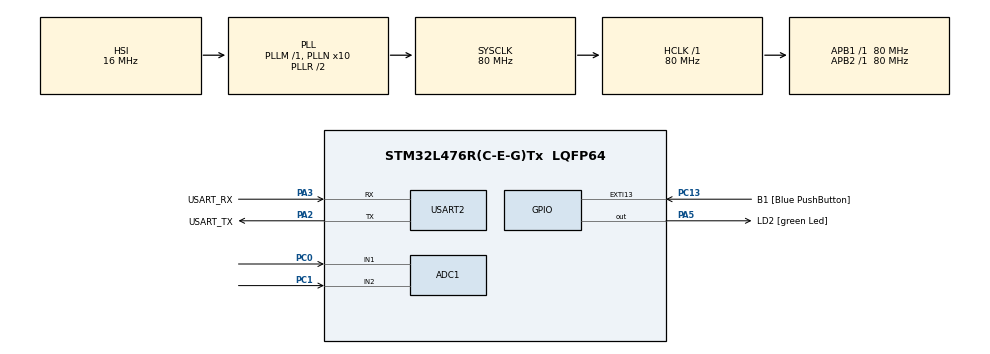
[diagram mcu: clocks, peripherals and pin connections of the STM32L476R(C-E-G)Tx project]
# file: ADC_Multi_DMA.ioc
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ADC1.Channel-0\#ChannelRegularConversion=ADC_CHANNEL_1
ADC1.Channel-1\#ChannelRegularConversion=ADC_CHANNEL_2
ADC1.Channel-2\#ChannelRegularConversion=ADC_CHANNEL_TEMPSENSOR
ADC1.NbrOfConversion=3
ADC1.NbrOfConversionFlag=1
ADC1.OffsetNumber-0\#ChannelRegularConversion=ADC_OFFSET_NONE
ADC1.OffsetNumber-1\#ChannelRegularConversion=ADC_OFFSET_NONE
ADC1.OffsetNumber-2\#ChannelRegularConversion=ADC_OFFSET_NONE
ADC1.Rank-0\#ChannelRegularConversion=1
ADC1.Rank-1\#ChannelRegularConversion=2
ADC1.Rank-2\#ChannelRegularConversion=3
ADC1.SamplingTime-0\#ChannelRegularConversion=ADC_SAMPLETIME_12CYCLES_5
ADC1.SamplingTime-1\#ChannelRegularConversion=ADC_SAMPLETIME_24CYCLES_5
ADC1.SamplingTime-2\#ChannelRegularConversion=ADC_SAMPLETIME_47CYCLES_5
ADC1.master=1
Dma.ADC1.0.Direction=DMA_PERIPH_TO_MEMORY
Dma.ADC1.0.Instance=DMA1_Channel1
Dma.ADC1.0.MemDataAlignment=DMA_MDATAALIGN_HALFWORD
Dma.ADC1.0.MemInc=DMA_MINC_ENABLE
Dma.ADC1.0.Mode=DMA_NORMAL
Dma.ADC1.0.PeriphDataAlignment=DMA_PDATAALIGN_HALFWORD
Dma.ADC1.0.PeriphInc=DMA_PINC_DISABLE
Dma.ADC1.0.Priority=DMA_PRIORITY_LOW
Dma.Request0=ADC1
Mcu.Family=STM32L4
Mcu.Name=STM32L476R(C-E-G)Tx
Mcu.Package=LQFP64
NVIC.DMA1_Channel1_IRQn=true\:0\:0\:false\:false\:true\:false\:true\:true
NVIC.PriorityGroup=NVIC_PRIORITYGROUP_4
PA13\ (JTMS-SWDIO).GPIO_Label=TMS
PA13\ (JTMS-SWDIO).Mode=Serial_Wire
PA13\ (JTMS-SWDIO).Signal=SYS_JTMS-SWDIO
PA14\ (JTCK-SWCLK).GPIO_Label=TCK
PA14\ (JTCK-SWCLK).Mode=Serial_Wire
PA14\ (JTCK-SWCLK).Signal=SYS_JTCK-SWCLK
PA2.GPIO_Label=USART_TX
PA2.GPIO_Mode=GPIO_MODE_AF_PP
PA2.GPIO_PuPd=GPIO_NOPULL
PA2.GPIO_Speed=GPIO_SPEED_FREQ_VERY_HIGH
PA2.Mode=Asynchronous
PA2.Signal=USART2_TX
PA3.GPIO_Label=USART_RX
PA3.GPIO_Mode=GPIO_MODE_AF_PP
PA3.GPIO_PuPd=GPIO_NOPULL
PA3.GPIO_Speed=GPIO_SPEED_FREQ_VERY_HIGH
PA3.Mode=Asynchronous
PA3.Signal=USART2_RX
PA5.GPIO_Label=LD2 [green Led]
PA5.GPIO_ModeDefaultOutputPP=GPIO_MODE_OUTPUT_PP
PA5.GPIO_PuPd=GPIO_NOPULL
PA5.GPIO_Speed=GPIO_SPEED_FREQ_LOW
PA5.Signal=GPIO_Output
PB3\ (JTDO-TRACESWO).GPIO_Label=SWO
PB3\ (JTDO-TRACESWO).Signal=SYS_JTDO-SWO
PC0.Signal=ADCx_IN1
PC1.Signal=ADCx_IN2
PC13.GPIO_Label=B1 [Blue PushButton]
PC13.GPIO_ModeDefaultEXTI=GPIO_MODE_IT_FALLING
PC13.GPIO_PuPd=GPIO_NOPULL
PC13.Signal=GPXTI13
PC14-OSC32_IN\ (PC14).Mode=LSE-External-Oscillator
PC14-OSC32_IN\ (PC14).Signal=RCC_OSC32_IN
PC15-OSC32_OUT\ (PC15).Mode=LSE-External-Oscillator
PC15-OSC32_OUT\ (PC15).Signal=RCC_OSC32_OUT
PH0-OSC_IN\ (PH0).Signal=RCC_OSC_IN
PH1-OSC_OUT\ (PH1).Signal=RCC_OSC_OUT
ProjectManager.HeapSize=0x200
ProjectManager.StackSize=0x400
ProjectManager.TargetToolchain=STM32CubeIDE
RCC.ADCFreq_Value=16000000
RCC.AHBFreq_Value=80000000
RCC.APB1Freq_Value=80000000
RCC.APB1TimFreq_Value=80000000
RCC.APB2Freq_Value=80000000
RCC.APB2TimFreq_Value=80000000
RCC.CortexFreq_Value=80000000
RCC.HCLKFreq_Value=80000000
RCC.HSE_VALUE=8000000
RCC.HSI_VALUE=16000000
RCC.MSI_VALUE=4000000
RCC.PLLN=10
RCC.PLLSAI1R=RCC_PLLR_DIV8
RCC.PLLSourceVirtual=RCC_PLLSOURCE_HSI
RCC.PREFETCH_ENABLE=1
RCC.SYSCLKFreq_VALUE=80000000
RCC.SYSCLKSource=RCC_SYSCLKSOURCE_PLLCLK
RCC.USBFreq_Value=64000000
RCC.VCOOutputFreq_Value=160000000
SH.ADCx_IN1.0=ADC1_IN1,IN1-Single-Ended
SH.ADCx_IN2.0=ADC1_IN2,IN2-Single-Ended
USART2.VirtualMode-Asynchronous=VM_ASYNC
VP_ADC1_TempSens_Input.Mode=IN-TempSens
board=NUCLEO-L476RG

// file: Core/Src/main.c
/* USER CODE BEGIN Header */
/**
  ******************************************************************************
  * @file           : main.c
  * @brief          : Main program body
  ******************************************************************************
  * @attention
  *
  * Copyright (c) 2022 STMicroelectronics.
  * All rights reserved.
  *
  * This software is licensed under terms that can be found in the LICENSE file
  * in the root directory of this software component.
  * If no LICENSE file comes with this software, it is provided AS-IS.
  *
  ******************************************************************************
  */
/* USER CODE END Header */
#include "main.h"

/* USER CODE BEGIN Includes */
#include "string.h"
#include "stdio.h"
/* USER CODE END Includes */

 ADC_HandleTypeDef hadc1;
DMA_HandleTypeDef hdma_adc1;

UART_HandleTypeDef huart2;

void SystemClock_Config(void);
static void MX_GPIO_Init(void);
static void MX_DMA_Init(void);
static void MX_USART2_UART_Init(void);
static void MX_ADC1_Init(void);

/* USER CODE BEGIN 0 */
uint16_t value[3];  // to store the adc values
float temp;  // temperature
char msg[5];
// let's get the values from the datasheet
#define V25  1.43
#define Avg_Slope .0043
#define VSENSE 3.3/4096   // 3.3 v and 12 bits so 4096

float get_temp (uint32_t variable)   // function to read temp from the value
{
	return (((V25 - VSENSE*variable) / Avg_Slope) + 25);
}
/* USER CODE END 0 */

int main(void)
{

  /* MCU Configuration--------------------------------------------------------*/

  /* Reset of all peripherals, Initializes the Flash interface and the Systick. */
  HAL_Init();

  /* Configure the system clock */
  SystemClock_Config();

  /* Initialize all configured peripherals */
  MX_GPIO_Init();
  MX_DMA_Init();
  MX_USART2_UART_Init();
  MX_ADC1_Init();
  /* USER CODE BEGIN 2 */
  HAL_ADC_Start_DMA(&hadc1, (uint32_t*)value, 3);
  // start the adc in dma mode
  // here value is the buffer, where the adc values are going to store
  // 3 is the number of values going to store == no. of channels we are using
  /* USER CODE END 2 */

  /* Infinite loop */
  while (1)
  {

    /* USER CODE BEGIN 3 */
	  sprintf(msg,"%hu\r\n",value[0]);
	  HAL_UART_Transmit(&huart2, (uint8_t*)msg, strlen(msg), HAL_MAX_DELAY);

	  sprintf(msg,"%hu\r\n",value[1]);
	  HAL_UART_Transmit(&huart2, (uint8_t*)msg, strlen(msg), HAL_MAX_DELAY);

	  temp = get_temp(value[2]);
	  sprintf(msg,"%hu\r\n", (uint16_t)temp);
	  HAL_UART_Transmit(&huart2, (uint8_t*)msg, strlen(msg), HAL_MAX_DELAY);
	  HAL_Delay(1000);
  }
  /* USER CODE END 3 */
}

void SystemClock_Config(void)
{
  RCC_OscInitTypeDef RCC_OscInitStruct = {0};
  RCC_ClkInitTypeDef RCC_ClkInitStruct = {0};

  /** Configure the main internal regulator output voltage
  */
  if (HAL_PWREx_ControlVoltageScaling(PWR_REGULATOR_VOLTAGE_SCALE1) != HAL_OK)
  {
    Error_Handler();
  }

  /** Initializes the RCC Oscillators according to the specified parameters
  * in the RCC_OscInitTypeDef structure.
  */
  RCC_OscInitStruct.OscillatorType = RCC_OSCILLATORTYPE_HSI;
  RCC_OscInitStruct.HSIState = RCC_HSI_ON;
  RCC_OscInitStruct.HSICalibrationValue = RCC_HSICALIBRATION_DEFAULT;
  RCC_OscInitStruct.PLL.PLLState = RCC_PLL_ON;
  RCC_OscInitStruct.PLL.PLLSource = RCC_PLLSOURCE_HSI;
  RCC_OscInitStruct.PLL.PLLM = 1;
  RCC_OscInitStruct.PLL.PLLN = 10;
  RCC_OscInitStruct.PLL.PLLP = RCC_PLLP_DIV7;
  RCC_OscInitStruct.PLL.PLLQ = RCC_PLLQ_DIV2;
  RCC_OscInitStruct.PLL.PLLR = RCC_PLLR_DIV2;
  if (HAL_RCC_OscConfig(&RCC_OscInitStruct) != HAL_OK)
  {
    Error_Handler();
  }

  /** Initializes the CPU, AHB and APB buses clocks
  */
  RCC_ClkInitStruct.ClockType = RCC_CLOCKTYPE_HCLK|RCC_CLOCKTYPE_SYSCLK
                              |RCC_CLOCKTYPE_PCLK1|RCC_CLOCKTYPE_PCLK2;
  RCC_ClkInitStruct.SYSCLKSource = RCC_SYSCLKSOURCE_PLLCLK;
  RCC_ClkInitStruct.AHBCLKDivider = RCC_SYSCLK_DIV1;
  RCC_ClkInitStruct.APB1CLKDivider = RCC_HCLK_DIV1;
  RCC_ClkInitStruct.APB2CLKDivider = RCC_HCLK_DIV1;

  if (HAL_RCC_ClockConfig(&RCC_ClkInitStruct, FLASH_LATENCY_4) != HAL_OK)
  {
    Error_Handler();
  }
}

static void MX_ADC1_Init(void)
{

  ADC_MultiModeTypeDef multimode = {0};
  ADC_ChannelConfTypeDef sConfig = {0};

  /** Common config
  */
  hadc1.Instance = ADC1;
  hadc1.Init.ClockPrescaler = ADC_CLOCK_ASYNC_DIV1;
  hadc1.Init.Resolution = ADC_RESOLUTION_12B;
  hadc1.Init.DataAlign = ADC_DATAALIGN_RIGHT;
  hadc1.Init.ScanConvMode = ADC_SCAN_ENABLE;
  hadc1.Init.EOCSelection = ADC_EOC_SINGLE_CONV;
  hadc1.Init.LowPowerAutoWait = DISABLE;
  hadc1.Init.ContinuousConvMode = DISABLE;
  hadc1.Init.NbrOfConversion = 3;
  hadc1.Init.DiscontinuousConvMode = DISABLE;
  hadc1.Init.ExternalTrigConv = ADC_SOFTWARE_START;
  hadc1.Init.ExternalTrigConvEdge = ADC_EXTERNALTRIGCONVEDGE_NONE;
  hadc1.Init.DMAContinuousRequests = DISABLE;
  hadc1.Init.Overrun = ADC_OVR_DATA_PRESERVED;
  hadc1.Init.OversamplingMode = DISABLE;
  if (HAL_ADC_Init(&hadc1) != HAL_OK)
  {
    Error_Handler();
  }

  /** Configure the ADC multi-mode
  */
  multimode.Mode = ADC_MODE_INDEPENDENT;
  if (HAL_ADCEx_MultiModeConfigChannel(&hadc1, &multimode) != HAL_OK)
  {
    Error_Handler();
  }

  /** Configure Regular Channel
  */
  sConfig.Channel = ADC_CHANNEL_1;
  sConfig.Rank = ADC_REGULAR_RANK_1;
  sConfig.SamplingTime = ADC_SAMPLETIME_12CYCLES_5;
  sConfig.SingleDiff = ADC_SINGLE_ENDED;
  sConfig.OffsetNumber = ADC_OFFSET_NONE;
  sConfig.Offset = 0;
  if (HAL_ADC_ConfigChannel(&hadc1, &sConfig) != HAL_OK)
  {
    Error_Handler();
  }

  /** Configure Regular Channel
  */
  sConfig.Channel = ADC_CHANNEL_2;
  sConfig.Rank = ADC_REGULAR_RANK_2;
  sConfig.SamplingTime = ADC_SAMPLETIME_24CYCLES_5;
  if (HAL_ADC_ConfigChannel(&hadc1, &sConfig) != HAL_OK)
  {
    Error_Handler();
  }

  /** Configure Regular Channel
  */
  sConfig.Channel = ADC_CHANNEL_TEMPSENSOR;
  sConfig.Rank = ADC_REGULAR_RANK_3;
  sConfig.SamplingTime = ADC_SAMPLETIME_47CYCLES_5;
  if (HAL_ADC_ConfigChannel(&hadc1, &sConfig) != HAL_OK)
  {
    Error_Handler();
  }

}

static void MX_USART2_UART_Init(void)
{

  huart2.Instance = USART2;
  huart2.Init.BaudRate = 115200;
  huart2.Init.WordLength = UART_WORDLENGTH_8B;
  huart2.Init.StopBits = UART_STOPBITS_1;
  huart2.Init.Parity = UART_PARITY_NONE;
  huart2.Init.Mode = UART_MODE_TX_RX;
  huart2.Init.HwFlowCtl = UART_HWCONTROL_NONE;
  huart2.Init.OverSampling = UART_OVERSAMPLING_16;
  huart2.Init.OneBitSampling = UART_ONE_BIT_SAMPLE_DISABLE;
  huart2.AdvancedInit.AdvFeatureInit = UART_ADVFEATURE_NO_INIT;
  if (HAL_UART_Init(&huart2) != HAL_OK)
  {
    Error_Handler();
  }

}

static void MX_DMA_Init(void)
{

  /* DMA controller clock enable */
  __HAL_RCC_DMA1_CLK_ENABLE();

  /* DMA interrupt init */
  /* DMA1_Channel1_IRQn interrupt configuration */
  HAL_NVIC_SetPriority(DMA1_Channel1_IRQn, 0, 0);
  HAL_NVIC_EnableIRQ(DMA1_Channel1_IRQn);

}

static void MX_GPIO_Init(void)
{
  GPIO_InitTypeDef GPIO_InitStruct = {0};

  /* GPIO Ports Clock Enable */
  __HAL_RCC_GPIOC_CLK_ENABLE();
  __HAL_RCC_GPIOH_CLK_ENABLE();
  __HAL_RCC_GPIOA_CLK_ENABLE();
  __HAL_RCC_GPIOB_CLK_ENABLE();

  /*Configure GPIO pin Output Level */
  HAL_GPIO_WritePin(LD2_GPIO_Port, LD2_Pin, GPIO_PIN_RESET);

  /*Configure GPIO pin : B1_Pin */
  GPIO_InitStruct.Pin = B1_Pin;
  GPIO_InitStruct.Mode = GPIO_MODE_IT_FALLING;
  GPIO_InitStruct.Pull = GPIO_NOPULL;
  HAL_GPIO_Init(B1_GPIO_Port, &GPIO_InitStruct);

  /*Configure GPIO pin : LD2_Pin */
  GPIO_InitStruct.Pin = LD2_Pin;
  GPIO_InitStruct.Mode = GPIO_MODE_OUTPUT_PP;
  GPIO_InitStruct.Pull = GPIO_NOPULL;
  GPIO_InitStruct.Speed = GPIO_SPEED_FREQ_LOW;
  HAL_GPIO_Init(LD2_GPIO_Port, &GPIO_InitStruct);

}

void Error_Handler(void)
{
  __disable_irq();
  while (1)
  {
  }
}
